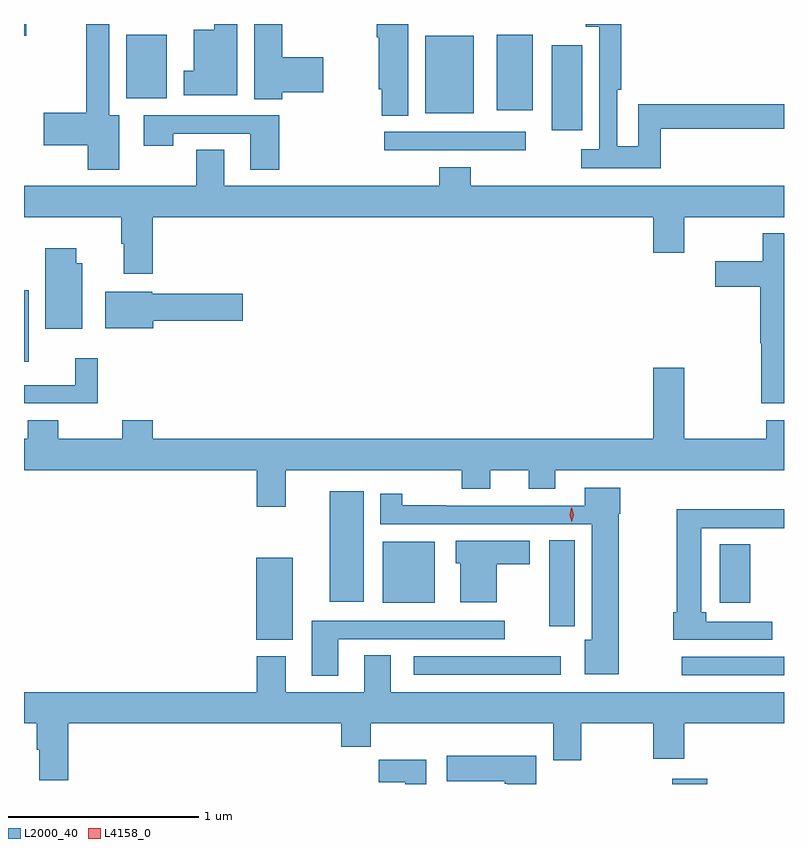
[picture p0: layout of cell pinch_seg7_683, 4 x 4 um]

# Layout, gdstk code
import gdstk
lib = gdstk.Library(unit=1e-6, precision=1e-09)
def R(c, l, rs):  # rectangles x0, y0, x1, y1
    for r in rs: c.add(gdstk.rectangle(r[:2], r[2:], *l))
def P(c, l, *ps):  # polygons
    for p in ps: c.add(gdstk.Polygon(p, *l))
L2000_40 = (2000, 40)
L4158_0 = (4158, 0)

pinch_seg7_683 = lib.new_cell('pinch_seg7_683')
R(pinch_seg7_683, L2000_40, [(356.918,1000.296,357.101,1000.324), (356.967,1000.869,357.505,1000.965), (355.557,1000.872,356.329,1000.968), (354.728,1001.054,354.919,1001.488), (356.27,1001.127,356.404,1001.579), (355.394,1001.249,355.666,1001.572), (357.167,1001.25,357.328,1001.558), (355.115,1001.255,355.294,1001.836), (353.505,1002.519,353.53,1002.895), (355.401,1003.632,356.146,1003.728), (356.282,1003.737,356.443,1004.185), (355.616,1003.826,355.873,1004.233), (355.994,1003.841,356.182,1004.239), (354.044,1003.904,354.256,1004.239), (353.505,1004.234,353.518,1004.296)])
P(pinch_seg7_683, L2000_40, [(354.007,1003.816),(353.953,1003.816),(353.953,1004.296),(353.833,1004.296),(353.833,1003.829),(353.61,1003.829),(353.61,1003.658),(353.84,1003.658),(353.84,1003.53),(354.007,1003.53)],
  [(354.863,1003.937),(355.081,1003.937),(355.081,1004.12),(354.863,1004.12),(354.863,1004.296),(354.716,1004.296),(354.716,1003.9),(354.863,1003.9)],
  [(354.628,1004.296),(354.506,1004.296),(354.506,1004.266),(354.398,1004.266),(354.398,1004.05),(354.347,1004.05),(354.347,1003.922),(354.628,1003.922)],
  [(355.528,1004.296),(355.361,1004.296),(355.361,1004.225),(355.373,1004.225),(355.373,1003.953),(355.387,1003.953),(355.387,1003.813),(355.528,1003.813)],
  [(356.855,1003.746),(357.505,1003.746),(357.505,1003.874),(356.739,1003.874),(356.739,1003.652),(356.628,1003.652),(356.628,1003.951),(356.648,1003.951),(356.648,1004.296),(356.462,1004.296),(356.462,1004.282),(356.532,1004.282),(356.532,1003.636),(356.439,1003.636),(356.439,1003.536),(356.855,1003.536)],
  [(354.848,1003.815),(354.135,1003.815),(354.135,1003.656),(354.291,1003.656),(354.291,1003.719),(354.695,1003.719),(354.695,1003.53),(354.848,1003.53)],
  [(354.182,1003.28),(356.816,1003.28),(356.816,1003.092),(356.98,1003.092),(356.98,1003.28),(357.505,1003.28),(357.505,1003.444),(355.856,1003.444),(355.856,1003.543),(355.691,1003.543),(355.691,1003.444),(354.559,1003.444),(354.559,1003.634),(354.412,1003.634),(354.412,1003.444),(353.505,1003.444),(353.505,1003.28),(354.017,1003.28),(354.017,1003.139),(354.029,1003.139),(354.029,1002.981),(354.182,1002.981)],
  [(357.505,1003.195),(357.392,1003.195),(357.392,1003.048),(357.144,1003.048),(357.144,1002.914),(357.38,1002.914),(357.38,1002.617),(357.385,1002.617),(357.385,1002.299),(357.505,1002.299)],
  [(353.812,1003.036),(353.779,1003.036),(353.779,1003.117),(353.618,1003.117),(353.618,1002.692),(353.812,1002.692)],
  [(354.184,1002.734),(354.655,1002.734),(354.655,1002.876),(354.18,1002.876),(354.18,1002.886),(353.933,1002.886),(353.933,1002.695),(354.184,1002.695)],
  [(353.894,1002.538),(353.776,1002.538),(353.776,1002.396),(353.505,1002.396),(353.505,1002.3),(353.894,1002.3)],
  [(354.883,1001.948),(355.808,1001.948),(355.808,1001.849),(355.96,1001.849),(355.96,1001.948),(356.162,1001.948),(356.162,1001.849),(356.302,1001.849),(356.302,1001.948),(357.505,1001.948),(357.505,1002.211),(357.412,1002.211),(357.412,1002.112),(356.98,1002.112),(356.98,1002.487),(356.816,1002.487),(356.816,1002.112),(354.182,1002.112),(354.182,1002.211),(354.022,1002.211),(354.022,1002.112),(353.685,1002.112),(353.685,1002.211),(353.525,1002.211),(353.525,1002.112),(353.505,1002.112),(353.505,1001.948),(354.731,1001.948),(354.731,1001.754),(354.883,1001.754)],
  [(356.634,1001.718),(356.644,1001.718),(356.644,1001.854),(356.456,1001.854),(356.456,1001.76),(355.724,1001.76),(355.724,1001.762),(355.497,1001.762),(355.497,1001.824),(355.379,1001.824),(355.379,1001.664),(356.492,1001.664),(356.492,1001.056),(356.456,1001.056),(356.456,1000.874),(356.634,1000.874)],
  [(357.442,1001.151),(357.096,1001.151),(357.096,1001.199),(357.07,1001.199),(357.07,1001.643),(357.505,1001.643),(357.505,1001.741),(356.941,1001.741),(356.941,1001.199),(356.923,1001.199),(356.923,1001.055),(357.442,1001.055)],
  [(355.993,1001.453),(356.167,1001.453),(356.167,1001.575),(355.778,1001.575),(355.778,1001.457),(355.802,1001.457),(355.802,1001.252),(355.993,1001.252)],
  [(355.159,1001.058),(356.035,1001.058),(356.035,1001.154),(355.019,1001.154),(355.019,1000.866),(355.159,1000.866)],
  [(353.738,1000.616),(355.175,1000.616),(355.175,1000.492),(355.331,1000.492),(355.331,1000.616),(356.291,1000.616),(356.291,1000.422),(356.439,1000.422),(356.439,1000.616),(356.816,1000.616),(356.816,1000.428),(356.98,1000.428),(356.98,1000.616),(357.505,1000.616),(357.505,1000.78),(355.435,1000.78),(355.435,1000.973),(355.295,1000.973),(355.295,1000.78),(354.883,1000.78),(354.883,1000.969),(354.731,1000.969),(354.731,1000.78),(353.505,1000.78),(353.505,1000.616),(353.573,1000.616),(353.573,1000.475),(353.585,1000.475),(353.585,1000.317),(353.738,1000.317)],
  [(356.2,1000.444),(355.731,1000.444),(355.731,1000.31),(356.035,1000.31),(356.035,1000.297),(356.048,1000.297),(356.048,1000.296),(356.2,1000.296)],
  [(355.621,1000.423),(355.372,1000.423),(355.372,1000.304),(355.511,1000.304),(355.511,1000.296),(355.621,1000.296)])
P(pinch_seg7_683, L4158_0, [(356.389,1001.677),(356.389,1001.677),(356.378,1001.712),(356.386,1001.749),(356.386,1001.749),(356.387,1001.749),(356.398,1001.713),(356.389,1001.677)])

lib.write_gds('pinch_seg7_683.gds')
